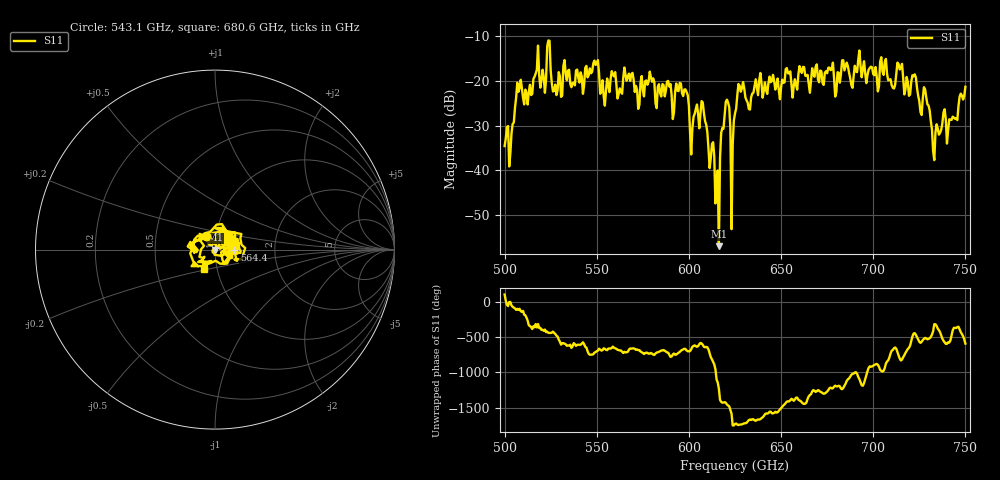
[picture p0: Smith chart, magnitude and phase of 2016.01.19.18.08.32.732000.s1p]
!Created with skrf (http://scikit-rf.org).
# GHz S RI R 50.0
!freq ReS11 ImS11
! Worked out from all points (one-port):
!   401 points, 500 GHz to 750 GHz, reference 50 ohm
!   lowest |S11| = -57.0 dB at 616.2 GHz (marker M1), VSWR 1.00, Z = 49.9 - j0.0642 ohm
!   |S11| at or under -10 dB: start of sweep to end of sweep
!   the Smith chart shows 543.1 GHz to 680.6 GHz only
!   S11 on the Smith chart (normalised r, x): 543.1 GHz: 0.90, +0.13; 564.4 GHz: 1.24, -0.01; 680.6 GHz: 0.87, -0.19
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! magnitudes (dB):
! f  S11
! 500 GHz  -34.6
! 503.8 GHz  -31.7
! 508.1 GHz  -21.6
! 523.8 GHz  -11.0
! 526.9 GHz  -22.2
! 531.2 GHz  -23.3
! 543.1 GHz  -21.0
! 549.4 GHz  -16.4
! 553.1 GHz  -19.9
! 562.5 GHz  -21.7
! 564.4 GHz  -19.3
! 593.8 GHz  -22.2
! 601.9 GHz  -30.6
! 608.1 GHz  -27.2
! 615 GHz  -41.8
! 616.2 GHz  -57.0
! 620 GHz  -24.7
! 623.8 GHz  -34.2
! 625 GHz  -27.3
! 628.1 GHz  -22.4
! 656.2 GHz  -23.7
! 680.6 GHz  -18.1
! 687.5 GHz  -19.4
! 714.4 GHz  -17.5
! 718.8 GHz  -20.3
! 728.8 GHz  -23.7
! 733.1 GHz  -37.7
! 750 GHz  -21.3
